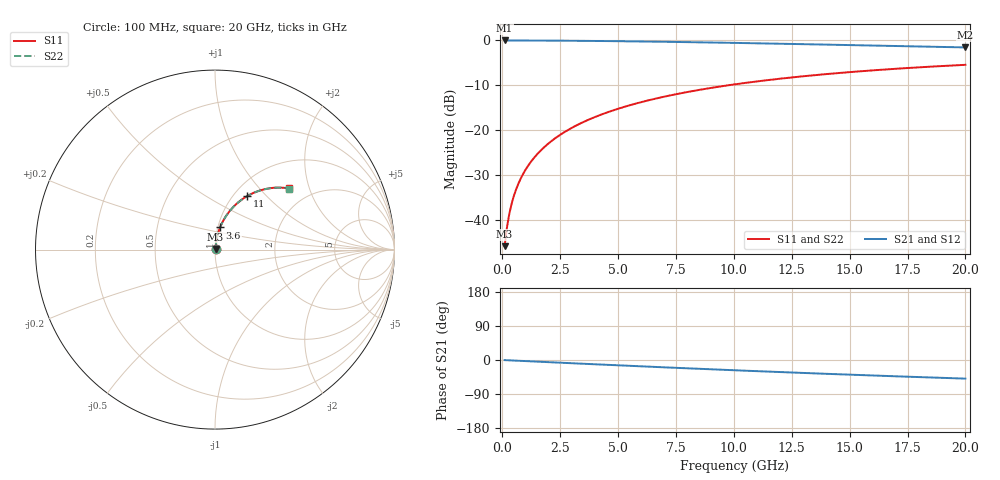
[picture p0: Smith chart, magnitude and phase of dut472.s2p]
! Touchstone file exported from HFSS 2026.1.0
!  File:  C:/ffzhzh/LocalFiles/Ansys_Project_Files/temp_train_TMRDL_472_1783006236_53980.aedt
!  Generated:  11:32:07 PM Jul  2, 2026
!  Design:  TMRDL
!  Project:  temp_train_TMRDL_472_1783006236_53980
! Variables:
!  h_bsmrdl = 2um
!  h_ox = 20um
!  h_rdl = 5um
!  h_sub = 80um
!  h_tmrdl = 4.47um
!  h_tsv = 80um
!  h_via = 3um
!  l_bsmrdl = 300um
!  l_sub = 1062.88um
!  l_tmrdl = 662.88um
!  m_sub = 200um
!  pitch = 58.64um
!  r_tsv = 6um
!  s_tmrdl = 10um
!  w_bsmrdl = 18um
!  w_sub = 500um
!  w_tmrdl = 15.2um
!  x_tsv_center1 = 670.48um
!  x_tsv_center2 = 988.48um
!  x_tsv_center3 = 1666.56um
!  x_tsv_center4 = 1984.56um
!  x_tsv_center5 = 2662.64um
!  x_tsv_center6 = 2980.64um
# GHz S MA R 50.000000
! Terminal data exported
! Port[1] = TM_RDL1_1_T1
! Port[2] = TM_RDL1_1_T2
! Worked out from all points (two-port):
!   200 points, 100 MHz to 20 GHz, reference 50 ohm
!   highest |S21| = -0.03 dB at 100 MHz (marker M1); lowest = -1.6 dB at 20 GHz (marker M2)
!   |S21| within 3 dB of the highest: start of sweep to end of sweep
!   lowest |S11| = -45.8 dB at 100 MHz (marker M3), VSWR 1.01, Z = 50.4 + j0.373 ohm
!   |S11| at or under -10 dB: start of sweep to 9.762 GHz
!   |S22| runs from -45.8 to -5.4 dB; largest |S21 - S12| = 3.3e-15
!   S11 on the Smith chart (normalised r, x): 100 MHz: 1.01, +0.01; 3.6 GHz: 1.03, +0.26; 11 GHz: 1.15, +0.79; 20 GHz: 1.54, +1.47
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0.1  0.005133 46.2  0.9965 -0.3  0.9965 -0.3  0.005133 46.2
! Gamma 0 0 0 0
! Port Impedance 50 0 50 0
0.2  0.008243 63.3  0.9963 -0.6  0.9963 -0.6  0.008243 63.3
0.3  0.01164 70.5  0.9962 -0.9  0.9962 -0.9  0.01164 70.5
0.4  0.01511 74.2  0.9961 -1.2  0.9961 -1.2  0.01511 74.2
0.5  0.0186 76.5  0.9959 -1.4  0.9959 -1.4  0.0186 76.5
0.7  0.02562 79.0  0.9957 -2.0  0.9957 -2.0  0.02562 79.0
1  0.0362 80.5  0.9952 -2.9  0.9952 -2.9  0.0362 80.5
1.4  0.05033 81.0  0.9944 -4.0  0.9944 -4.0  0.05033 81.0
1.7  0.06091 80.9  0.9936 -4.9  0.9936 -4.9  0.06091 80.9
2  0.07145 80.5  0.9928 -5.7  0.9928 -5.7  0.07146 80.5
2.7  0.09585 79.2  0.9903 -7.7  0.9903 -7.7  0.09586 79.2
3.5  0.1233 77.4  0.9866 -9.9  0.9866 -9.9  0.1233 77.4
3.6  0.1267 77.2  0.9861 -10.2  0.9861 -10.2  0.1267 77.2
4.3  0.1502 75.4  0.9823 -12.1  0.9823 -12.1  0.1502 75.4
5  0.1733 73.7  0.978 -14.0  0.978 -14.0  0.1733 73.6
6.8  0.2302 69.1  0.9649 -18.9  0.9649 -18.9  0.2302 69.1
8.3  0.2751 65.4  0.9523 -22.7  0.9523 -22.7  0.2751 65.3
10.1  0.3254 61.0  0.9356 -27.3  0.9356 -27.3  0.3254 60.9
11  0.3491 58.9  0.9267 -29.5  0.9267 -29.5  0.3491 58.8
13.4  0.4077 53.4  0.9021 -35.1  0.9021 -35.1  0.4077 53.3
16.7  0.477 46.3  0.8674 -42.4  0.8674 -42.4  0.477 46.2
20  0.534 39.7  0.8338 -49.1  0.8338 -49.1  0.534 39.6
